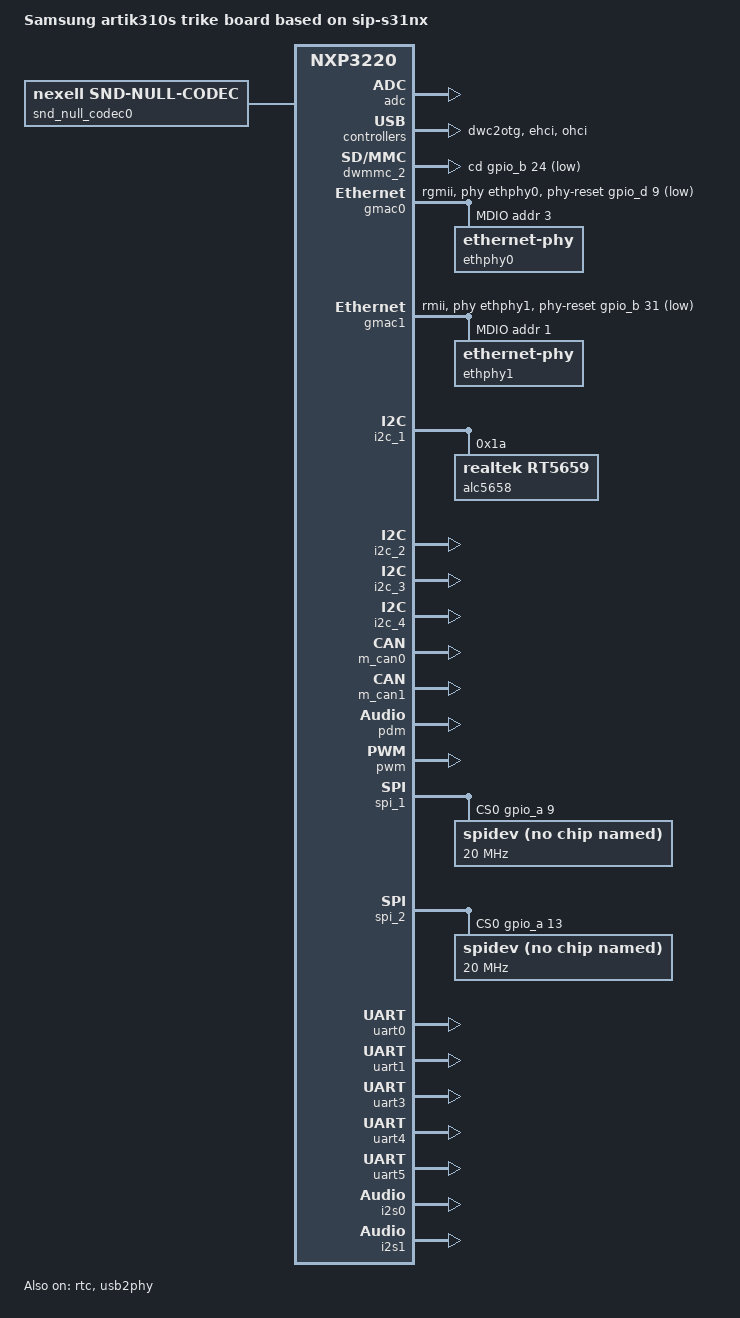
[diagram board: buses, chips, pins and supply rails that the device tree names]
// SPDX-License-Identifier: (GPL-2.0+ OR MIT)
/*
 * Copyright (C) 2018  Nexell Co., Ltd.
 * Author: JungHyun, Kim <jhkim@nexell.co.kr>
 */

#include <dt-bindings/gpio/gpio.h>
#include "sip-s31nx-artik310s.dtsi"

/ {
	model = "Samsung artik310s trike board based on sip-s31nx";
	compatible = "samsung,artik310s-trike", "samsung,artik310s",
		   "nexell,nxp3220";

	chosen {
		stdout-path = &uart0;
	};

	/* Null codec for PDM reference i2s */
	snd_null_codec0: snd_null_codec@0 {
		#sound-dai-cells = <0>;
		compatible = "nexell,snd-null-codec";
		status = "okay";
	};

	sound0: sound@0 {
		compatible = "simple-audio-card";
		simple-audio-card,name = "Artik310 Audio Card ALC5658";
		simple-audio-card,widgets =
			"Headphone", "Out Jack",
			"Microphone", "In Jack";
		simple-audio-card,routing =
			"IN1P", "MICBIAS1",
			"IN1P", "In Jack",
			"IN1P", "Main Mic";
		status = "okay";

		simple-audio-card,dai-link@0 {
			mclk-fs = <256>;
			format = "i2s";
			frame-master = <&sndcpu0>;
			bitclock-master = <&sndcpu0>;

			sndcpu0: cpu  {
				sound-dai = <&i2s1 0>;
			};

			sndcodec0: codec {
				sound-dai = <&alc5658>;
			};
		};
	};

	sound1: sound@1 {
		compatible = "simple-audio-card";
		simple-audio-card,name = "Artik310 PDM Card";
		status = "okay";

		simple-audio-card,dai-link@0 {
			mclk-fs = <256>;
			format = "i2s";
			frame-master = <&sndcodec1>;
			bitclock-master = <&sndcodec1>;

			sndcpu1: cpu {
				 sound-dai = <&i2s0 0>;
			};

			sndcodec1: codec {
				sound-dai = <&snd_null_codec0>;
			};
		};
	};

	sound-pdm {
		compatible = "nexell,nxp3220-pdm-card";
		snd-controller = <&pdm>;
	};

};

&adc {
	status = "okay";
};

&dwc2otg {
	status = "okay";
};

&dwmmc_2 {
	cap-sd-highspeed;
	cd-gpios = <&gpio_b 24 0>;
	cd-inverted;
	clock-frequency = <200000000>;
	nexell,drive_shift = <0x01>;
	nexell,sample_shift = <0x00>;
	card-detect-delay = <200>;
	disable-wp;
	status = "okay";
};

&ehci {
	status = "okay";
};

&gmac0 {
	status = "okay";

	pinctrl-names = "default";
	pinctrl-0 = <&gmac0_pins>;
	phy-mode = "rgmii";
	phy-handle = <&ethphy0>;
	assigned-clocks = <&cmu CLK_GMAC_RGMII0_AXI>,
			  <&cmu CLK_GMAC_RGMII0_APB>,
			  <&cmu CLK_GMAC_RGMII0_PTP_REF>;
	assigned-clock-rates = <250000000>, <125000000>, <25000000>;

	phy-reset-gpios = <&gpio_d 9 GPIO_ACTIVE_LOW>;
	phy-intr-gpios = <&alive_0 5 GPIO_ACTIVE_LOW>;
	phy-pme-gpios = <&alive_0 2 GPIO_ACTIVE_LOW>;

	mdio@3 {
		#address-cells = <1>;
		#size-cells = <0>;

		ethphy0: ethernet-phy@3 {
			reg = <3>;
		};
	};
};

&gmac0_phyint {
	nexell,pins = "alive-5";
};

&gmac0_pme {
	nexell,pins = "alive-2";
};

&gmac1 {
	status = "okay";

	pinctrl-names = "default";
	pinctrl-0 = <&gmac1_pins>;
	phy-mode = "rmii";
	phy-handle = <&ethphy1>;
	assigned-clocks = <&cmu CLK_GMAC_RMII0_AXI>,
			  <&cmu CLK_GMAC_RMII0_APB>,
			  <&cmu CLK_GMAC_RMII0_PTP_REF>;
	assigned-clock-rates = <250000000>, <125000000>, <25000000>;

	phy-reset-gpios = <&gpio_b 31 GPIO_ACTIVE_LOW>;
	phy-intr-gpios = <&alive_0 7 GPIO_ACTIVE_LOW>;
	phy-pme-gpios = <&alive_0 6 GPIO_ACTIVE_LOW>;

	mdio@1 {
		#address-cells = <1>;
		#size-cells = <0>;

		ethphy1: ethernet-phy@1 {
			reg = <1>;
		};
	};
};

&i2c_1 {
	status = "okay";
	#address-cells = <1>;
	#size-cells = <0>;

	alc5658: alc5658@1a {
		#sound-dai-cells = <0>;
		compatible = "realtek,rt5659";
		reg = <0x1a>;
	};
};

&i2c_2 {
	status = "okay";
	#address-cells = <1>;
	#size-cells = <0>;
};

&i2c_3 {
	status = "okay";
	#address-cells = <1>;
	#size-cells = <0>;
};

&i2c_4 {
	status = "okay";
	#address-cells = <1>;
	#size-cells = <0>;
};

&m_can0 {
	status = "okay";
	assigned-clocks = <&cmu CLK_CAN0_CORE>;
	assigned-clock-rates = <10000000>;
};

&m_can1 {
	status = "okay";
	assigned-clocks = <&cmu CLK_CAN1_CORE>;
	assigned-clock-rates = <10000000>;
};

&mmc2_clk {
	nexell,pin-strength = <NX_PIN_STR1>;
};

&ohci {
	status = "okay";
};

&pdm {
	ref-iis = <0>;
	sample-rate = <16000>;
	assigned-clocks = <&cmu CLK_PDM0_AXI>;
	assigned-clock-rates = <200000000>;
	status = "okay";
};

&pwm {
	status = "okay";
	nexell,pwm-outputs = <0>, <1>, <2>, <3>;
	assigned-clocks = <&cmu CLK_PWM0_APB>;
	assigned-clock-rates = <166000000>;
};

&rtc {
	status = "okay";
};

&spi_1 {
	status = "okay";
	assigned-clocks = <&cmu CLK_SPI1_APB>, <&cmu CLK_SPI1_CORE>;
	assigned-clock-rates = <200000000>, <200000000>;
	cs-gpios = <&gpio_a 9 0>;

	spidev@0 {
		compatible = "linux,spidev";
		reg = <0>;
		spi-max-frequency = <20000000>;
	};
};

&spi_2 {
	status = "okay";
	assigned-clocks = <&cmu CLK_SPI2_APB>, <&cmu CLK_SPI2_CORE>;
	assigned-clock-rates = <200000000>, <200000000>;
	cs-gpios = <&gpio_a 13 0>;

	spidev@0 {
		compatible = "linux,spidev";
		reg = <0>;
		spi-max-frequency = <20000000>;
	};
};

&uart0 {
	status = "okay";
};

&uart1 {
	status = "okay";
};

&uart3 {
	status = "okay";
};

&uart4 {
	status = "okay";
	pinctrl-0 = <&uart4_bus &uart4_485>;
	linux,rs485-enabled-at-boot-time;
	rs485-rts-active-low;
};

&uart5 {
	status = "okay";
	pinctrl-0 = <&uart5_bus &uart5_485>;
	linux,rs485-enabled-at-boot-time;
	rs485-rts-active-low;
};

&usb2phy {
	status = "okay";
	otg,vbus-gpio = <&gpio_c 12 0>;
	otg,vbus-tune = <1>;
	ehci,vbus-gpio = <&gpio_b 23 0>;
};

&i2s0_bus {
	nexell,pin-pull = <NX_PIN_PULL_UP>;
};

&i2s0 {
	frame-bit = <32>;
	sample-rate = <48000>;
	status = "okay";
};

&i2s1 {
	frame-bit = <32>;
	sample-rate = <48000>;
	assigned-clock-rates = <12288000>;
	status = "okay";
};
